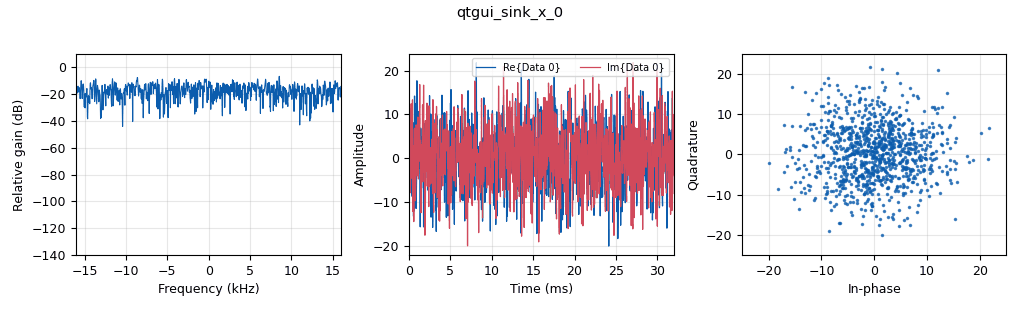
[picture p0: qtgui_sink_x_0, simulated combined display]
options:
  parameters:
    author: vlpannel
    generate_options: qt_gui
    id: fold_sandbox
    output_language: python
    title: Not titled yet
  states: {}

blocks:
- name: samp_rate
  id: variable
  parameters:
    value: '32000'
  states: {}
- name: analog_fastnoise_source_x_0
  id: analog_fastnoise_source_x
  parameters:
    amp: '10'
    noise_type: analog.GR_GAUSSIAN
    samples: '8192'
    seed: '0'
    type: complex
  states: {}
- name: analog_sig_source_x_0
  id: analog_sig_source_x
  parameters:
    amp: '1'
    freq: '1000'
    offset: '0'
    phase: '0'
    samp_rate: samp_rate
    type: complex
    waveform: analog.GR_COS_WAVE
  states: {}
- name: blocks_add_xx_0
  id: blocks_add_xx
  parameters:
    type: complex
  states: {}
- name: blocks_complex_to_mag_squared_0
  id: blocks_complex_to_mag_squared
  parameters: {}
  states: {}
- name: blocks_multiply_xx_0
  id: blocks_multiply_xx
  parameters:
    type: complex
  states: {}
- name: blocks_throttle_0
  id: blocks_throttle
  parameters:
    samples_per_second: samp_rate * 10
    type: complex
  states: {}
- name: blocks_vector_source_x_0
  id: blocks_vector_source_x
  parameters:
    comment: Period is 100 samples
    repeat: 'True'
    type: complex
    vector: np.array([1] * 69 + [3] + [1] * 30)
  states: {}
- name: epy_block_0
  id: epy_block
  parameters:
    Nbins: '1024'
    _source_code: |
      import numpy as np
      from gnuradio import gr
      import psrdynspec
      from psrdynspec import fold
      import pandas as pd
      from astropy.stats import sigma_clip
      from psrdynspec.modules.filters1d import blockavg1d

      class fold_stream_block(gr.sync_block):
          """
          Fold a timeseries of power over a period.

          Parameters
          ----------
          
          per : float
              Period of folding
          
          samp_rate : float, int
              Sample rate of incoming samples.
              
          integration_time : int, float
              Seconds over which to integrate/fold.
              
          Nbins : int
              Number of phase bins to use for folding.
              
          folding : bool
              Flag determining whether new profiles are still being calculated
          
          Notes
          -----
          
          Outputs the profile resultant of the latest vector passed in.
          """

          def __init__(self, per=.1, samp_rate=1000, integration_time=.5, Nbins=1024, folding=True):
              
              '''
              @staticmethod
              def set_stuff(sr, it, bins):
                  self.samp_rate = samp_rate
                  self.integration_time = integration_time
                  self.Nbins = bins
                  
              set_stuff(samp_rate, integration_time, Nbins)
              '''
              
              gr.sync_block.__init__(
                  self,
                  name='Fold Stream',
                  in_sig=[np.float32],
                  out_sig=[]
              )
              self.per = per
              self.samp_rate = samp_rate
              self.integration_time = integration_time
              self.Nbins = Nbins
              self.folding = folding
              
              #self.start_time = 0
              self.data = []
              #self.ts = np.array([], dtype=np.float32)
              #self.times = np.array([], dtype=np.float32)
              #self.profile = np.zeros(self.Nbins, dtype=np.float32)

          def work(self, input_items, output_items):
              print(f'DEBUG: {input_items}\n\n\n\t{input_items[0]}')
              self.data += list(input_items[0])
              if len(self.data) >= int(self.samp_rate * self.integration_time):
                  times = np.arange(len(self.data)) / float(self.samp_rate)
                  folded = fold.fold_ts(self.data, times, self.per, self.Nbins)[0]
                  print(folded)
                  self.data = []
                  
              return 0
              '''
              for vindex in range(len(input_items[0])):
                  times = np.arange(input_items[0][vindex].size) / float(self.samp_rate) + self.start_time
                  folded = fold.fold_ts(input_items[0][vindex], times, self.per, self.Nbins)[0]
                  output_items[0][vindex] = folded
                  self.start_time = times[1] + times[-1]
              self.start_time = 0
              return len(output_items[0])
              '''
              '''
              # if in folding mode and haven't yet collected enough data
              input0 = input_items[0]
              output0 = output_items[0]
              
              print(f'{input0}, {output0}')
              print(f'{self.folding}')
              print(f'{self.times >= self.integration_time}')
              print(f'{(self.folding) and not (True in self.times >= self.integration_time)}')
              
              if (self.folding) and not (True in self.times >= self.integration_time):
                  print('DEBUG: folding...')
                  self.ts = np.append(self.ts, input0[:])
                  self.times = np.append(self.times, ( np.arange(len(input0))/float(self.samp_rate) ) + self.start_time)
                  self.start_time = self.times[-1] + (1 / self.samp_rate)
                  #print(f'\tts: {self.ts}\n\ttimes: {self.times}\n\tstart time: {self.start_time}')
              # reset if not folding or  enough data collected
              else:
                  print('DEBUG: resetting...')
                  self.start_time = 0
                  self.profile = np.nan_to_num(fold.fold_ts(self.ts, self.times, self.per, self.Nbins)[0])
                  self.ts = np.array([], dtype=np.float32)
                  self.times = np.array([], dtype=np.float32)
                  print(f'\tprofile: {self.profile}')
              # output profile vector
              for vecindex in range(len(output_items[0])):
                  output_items[0][vecindex][:] = self.profile
              print(f'result shape: {output_items[0].shape}')
              return len(output_items[0])
              '''
    folding: 'True'
    integration_time: '.5'
    per: '.1'
    samp_rate: '1000'
  states: {}
- name: import_0
  id: import
  parameters:
    imports: import numpy as np
  states: {}
- name: import_1
  id: import
  parameters:
    imports: import psrdynspec
  states: {}
- name: qtgui_sink_x_0
  id: qtgui_sink_x
  parameters:
    bw: samp_rate
    fc: '0'
    fftsize: '1024'
    type: complex
  states: {}

connections:
- [analog_fastnoise_source_x_0, '0', blocks_add_xx_0, '1']
- [analog_sig_source_x_0, '0', blocks_throttle_0, '0']
- [blocks_add_xx_0, '0', blocks_complex_to_mag_squared_0, '0']
- [blocks_add_xx_0, '0', qtgui_sink_x_0, '0']
- [blocks_complex_to_mag_squared_0, '0', epy_block_0, '0']
- [blocks_multiply_xx_0, '0', blocks_add_xx_0, '0']
- [blocks_throttle_0, '0', blocks_multiply_xx_0, '0']
- [blocks_vector_source_x_0, '0', blocks_multiply_xx_0, '1']

metadata:
  file_format: 1
  grc_version: 3.10.3.0
